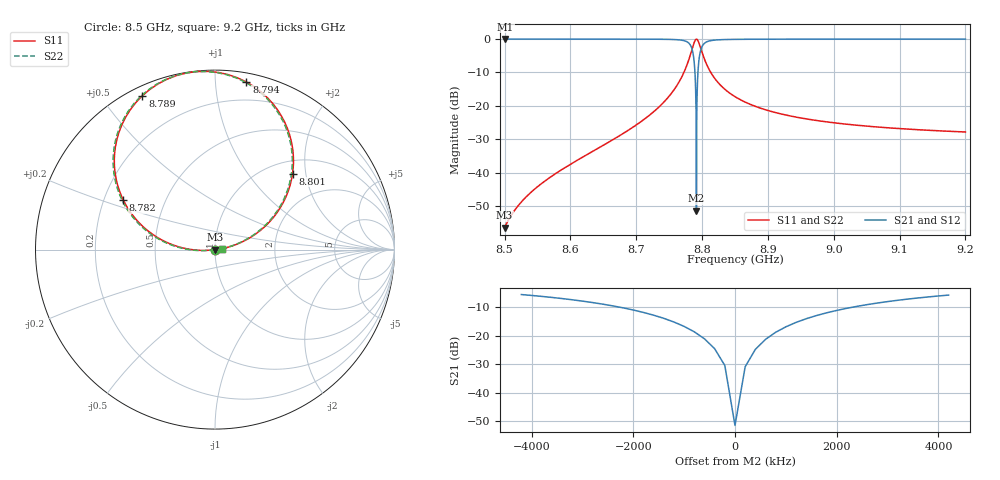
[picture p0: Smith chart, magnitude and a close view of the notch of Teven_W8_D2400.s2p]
! Sonnet Data File
! From: emgraph Version : 16.52
! From Project: transmon_brg
! Data is De-embedded
! Data File Written: 11/11/2017 22:44:26
!< HDATE 11/11/2017 16:55:33
!< MDATE 11/11/2017 17:38:18
!< PARAMS
!< Lj = 15.24
!< Gap = 6.0
!< Width = 10.0
!< Airgap = 6.0
!< Pwidth = 2000.0
!< Dist = 2400.0
!< END PARAMS
# GHZ S MA R 51.80000
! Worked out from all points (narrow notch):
!   3501 points, 8.5 GHz to 9.2 GHz, reference 51.8 ohm
!   highest |S21| = 0.00 dB at 8.501 GHz (marker M1); lowest = -51.4 dB at 8.791 GHz (marker M2)
!   notch at M2: 51.4 dB deep, 726 kHz wide at half that depth
!   lowest |S11| = -56.5 dB at 8.5 GHz (marker M3), VSWR 1.00, Z = 51.6 - j0.00756 ohm
!   |S11| at or under -10 dB: start of sweep to 8.772 GHz; 8.813 GHz to end of sweep
!   |S22| runs from -56.5 to 0.0 dB; largest |S21 - S12| = 0
!   S11 on the Smith chart (normalised r, x): 8.5 GHz: 1.00, -0.00; 8.782 GHz: 0.28, +0.23; 8.789 GHz: 0.04, +0.63; 8.794 GHz: 0.06, +1.20; 8.801 GHz: 1.26, +1.69; 9.2 GHz: 1.08, +0.01
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8.5  0.001499 -177.2  1 -79.8  1 -79.8  0.001498 -162.7
!< P1 F=8.5 Eeff=(6.44695349 -2.9785e-5) Z0=(51.7999087 1.19092e-4) R=0.0 C=0.0
!< P2 F=8.5 Eeff=(6.44695349 -2.9785e-5) Z0=(51.7999087 1.19092e-4) R=0.0 C=0.0
8.5012  0.001591 -176.8  1 -79.8  1 -79.8  0.00159 -163.1
8.5186  0.003022 -173.9  1 -80.1  1 -80.1  0.003021 -166.3
8.5414  0.005215 -172.8  1 -80.4  1 -80.4  0.005215 -168.1
8.6168  0.01669 -172.8  0.9999 -81.8  0.9999 -81.8  0.01669 -170.8
8.7334  0.09399 -177.8  0.9955 -87.3  0.9955 -87.3  0.09399 -176.9
8.7698  0.2796 171.0  0.9599 -98.5  0.9599 -98.5  0.2796 171.9
8.7772  0.4138 162.8  0.9098 -106.8  0.9098 -106.8  0.4138 163.5
8.7822  0.5806 151.6  0.813 -117.9  0.813 -117.9  0.5806 152.4
8.7864  0.7985 134.0  0.5992 -135.4  0.5992 -135.4  0.7985 134.8
8.7892  0.9481 115.3  0.3105 -153.9  0.3105 -153.9  0.9481 116.0
8.7914  0.9974 97.2  0.002686 -97.9  0.002686 -97.9  0.9974 97.9
8.7936  0.9499 79.4  0.3052 -10.7  0.3052 -10.7  0.9499 80.1
8.7964  0.8085 61.3  0.5856 -28.6  0.5856 -28.6  0.8085 62.0
8.8006  0.6047 44.4  0.7953 -45.3  0.7953 -45.3  0.6047 45.1
8.8062  0.4334 32.8  0.9007 -56.9  0.9007 -56.9  0.4334 33.5
8.8144  0.3028 24.6  0.9528 -65.1  0.9528 -65.1  0.3028 25.3
8.85  0.1373 14.6  0.9905 -75.1  0.9905 -75.1  0.1373 15.2
8.8976  0.0866 11.3  0.9962 -78.5  0.9962 -78.5  0.0866 11.8
8.9668  0.06183 9.2  0.9981 -80.6  0.9981 -80.6  0.06183 9.6
9.0834  0.04683 7.3  0.9989 -82.5  0.9989 -82.5  0.04683 7.6
9.2  0.0406 5.9  0.9992 -84.0  0.9992 -84.0  0.0406 6.1
